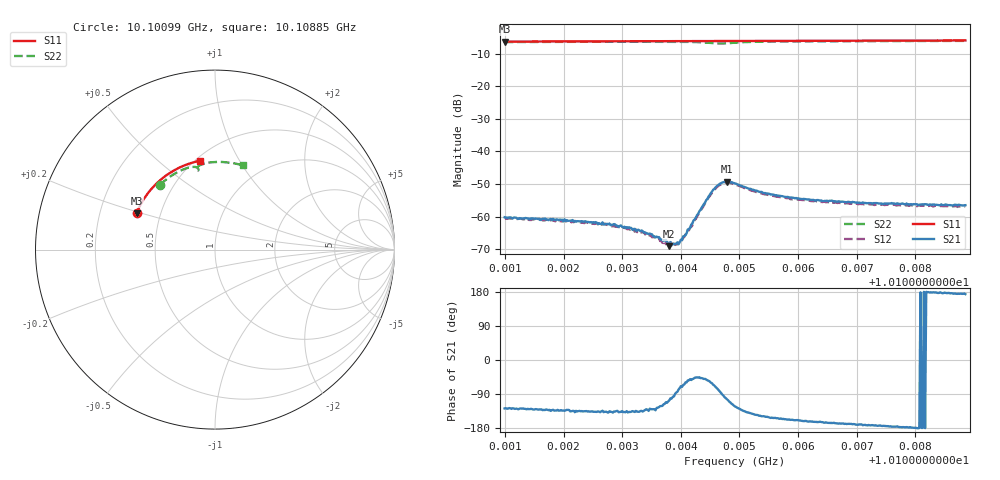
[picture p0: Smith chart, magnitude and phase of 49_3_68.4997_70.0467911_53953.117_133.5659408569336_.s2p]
#  HZ  S  RI  R  50.00
! Rohde & Schwarz Vector Network Analyzer
! Rohde-Schwarz,ZNB20-2Port,1311601062101988,3.16
! Created: UTC 3/20/2024, 5:05:55 PM
! freq[Hz]  re:S11  im:S11  re:S21  im:S21  re:S12  im:S12  re:S22  im:S22
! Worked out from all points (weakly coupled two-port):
!   401 points, 10.10099 GHz to 10.10885 GHz, reference 50 ohm
!   highest |S21| = -49.23 dB at 10.10479 GHz (marker M1); lowest = -69.0 dB at 10.1038 GHz (marker M2)
!   lowest |S11| = -6.3 dB at 10.10099 GHz (marker M3), VSWR 2.86, Z = 18.2 + j9.64 ohm
!   |S11| at or under -10 dB: nowhere
!   |S22| runs from -6.9 to -6.1 dB; largest |S21 - S12| = 0.00035
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1.0100995e10  -0.4368 0.2029  -0.000603 -0.000777  -0.000486 -0.00079  -0.3064 0.362
1.0101545e10  -0.4232 0.2336  -0.000603 -0.000712  -0.000541 -0.000712  -0.2794 0.3852
1.0102311e10  -0.401 0.2745  -0.000604 -0.000608  -0.000529 -0.000612  -0.2387 0.4141
1.0103019e10  -0.3768 0.3101  -0.000505 -0.000463  -0.000479 -0.000494  -0.198 0.4371
1.0103333e10  -0.3652 0.325  -0.000432 -0.000441  -0.000348 -0.000455  -0.1784 0.4459
1.0103628e10  -0.3537 0.3389  -0.000276 -0.000403  -0.000241 -0.000402  -0.1594 0.4531
1.0103805e10  -0.3465 0.3468  -9.9e-05 -0.00034  -9.22e-05 -0.000379  -0.147 0.457
1.0103883e10  -0.3432 0.3504  -4.06e-05 -0.000377  1.99e-05 -0.000388  -0.1413 0.4583
1.0103942e10  -0.3408 0.3529  4.37e-05 -0.000403  7.34e-05 -0.000372  -0.1369 0.4592
1.0103981e10  -0.3392 0.3548  0.000111 -0.000391  0.000123 -0.000373  -0.134 0.4598
1.010406e10  -0.336 0.3581  0.000217 -0.000457  0.000244 -0.000426  -0.1279 0.4606
1.0104178e10  -0.3308 0.3632  0.000456 -0.000602  0.000485 -0.000503  -0.1184 0.4611
1.0104433e10  -0.3198 0.374  0.00112 -0.00141  0.00118 -0.00125  -0.0973 0.4548
1.0104532e10  -0.3152 0.3779  0.00116 -0.00213  0.00126 -0.00195  -0.0924 0.4482
1.0104649e10  -0.3099 0.3827  0.000532 -0.00307  0.000766 -0.00291  -0.0941 0.4405
1.0104787e10  -0.3038 0.3882  -0.000833 -0.00335  -0.00051 -0.00329  -0.1014 0.4425
1.0104925e10  -0.2975 0.3933  -0.00174 -0.00274  -0.00142 -0.00277  -0.1016 0.4529
1.0105435e10  -0.2731 0.4123  -0.00199 -0.00118  -0.00179 -0.00126  -0.069 0.4766
1.0105907e10  -0.2494 0.4285  -0.00181 -0.00074  -0.00165 -0.000837  -0.0365 0.4843
1.0106241e10  -0.232 0.4389  -0.00172 -0.000547  -0.00161 -0.000669  -0.0139 0.487
1.0107558e10  -0.1602 0.473  -0.00159 -0.000123  -0.00149 -0.000285  0.0721 0.4859
1.0108855e10  -0.0848 0.4944  -0.0015 0.000163  -0.00143 1.22e-05  0.1534 0.4695
